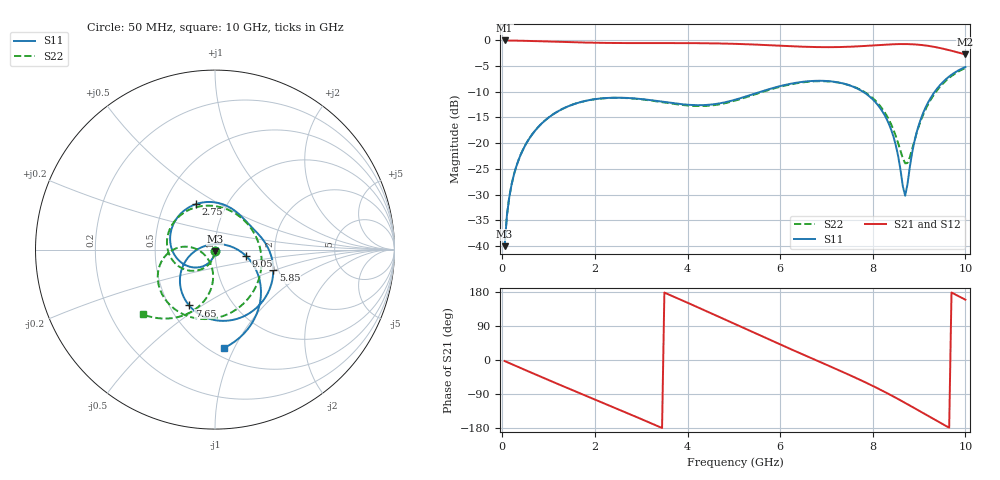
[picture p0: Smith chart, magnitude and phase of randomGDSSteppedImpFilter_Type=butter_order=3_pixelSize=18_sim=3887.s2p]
! freq	dB(S11)	phase(S11)	dB(S12)	phase(S12)
!  dB(S21)	phase(S21)	dB(S22)	phase(S22)
!S-par simulation data
#  GHz  S  DB  R 50
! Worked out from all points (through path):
!   200 points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, 50 MHz to 10 GHz, reference 50 ohm
!   highest |S21| = 0.00 dB at 50 MHz (marker M1); lowest = -2.7 dB at 10 GHz (marker M2)
!   group delay of S21, straight-line fit = 153 ps
!   lowest |S11| = -40.1 dB at 50 MHz (marker M3), VSWR 1.02, Z = 49.9 - j0.992 ohm
!   |S11| at or under -10 dB: start of sweep to 5.573 GHz; 7.791 GHz to 9.338 GHz (1.547 GHz wide, 18.1 % of centre)
!   |S22| runs from -40.1 to -5.4 dB; largest |S21 - S12| = 0
!   S11 on the Smith chart (normalised r, x): 50 MHz: 1.00, -0.02; 2.75 GHz: 0.72, +0.39; 5.85 GHz: 1.88, -0.49; 7.65 GHz: 0.63, -0.44; 9.05 GHz: 1.42, -0.11; 10 GHz: 0.58, -0.91
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0.05  -40.05 -92.6  -0.00 -2.7  -0.00 -2.7  -40.06 -92.1
0.1  -34.04 -95.8  -0.01 -5.4  -0.01 -5.4  -34.05 -94.8
0.2  -28.07 -101.9  -0.02 -10.7  -0.02 -10.7  -28.07 -99.8
0.5  -20.35 -119.8  -0.08 -26.7  -0.08 -26.7  -20.34 -114.5
1.15  -14.08 -157.5  -0.25 -60.7  -0.25 -60.7  -14.07 -145.4
1.75  -11.86 168.4  -0.40 -91.6  -0.40 -91.6  -11.87 -173.1
2.25  -11.21 140.4  -0.48 -117.1  -0.48 -117.1  -11.23 163.9
2.75  -11.22 112.9  -0.52 -142.8  -0.52 -142.8  -11.26 140.0
3.4  -11.86 79.1  -0.52 -176.8  -0.52 -176.8  -11.95 105.9
4.15  -12.59 46.5  -0.53 142.9  -0.53 142.9  -12.75 58.2
4.6  -12.38 30.5  -0.57 118.3  -0.57 118.3  -12.57 25.0
5.05  -11.48 14.5  -0.67 93.4  -0.67 93.4  -11.66 -8.5
5.85  -9.25 -19.6  -0.96 49.3  -0.96 49.3  -9.39 -61.6
6.7  -7.89 -62.3  -1.27 3.4  -1.27 3.4  -7.98 -109.2
7.65  -9.30 -114.9  -1.16 -48.1  -1.16 -48.1  -9.24 -157.1
8.35  -16.29 -164.3  -0.78 -90.1  -0.78 -90.1  -15.45 174.4
8.5  -20.51 178.1  -0.72 -99.8  -0.72 -99.8  -18.68 176.0
8.7  -30.23 90.6  -0.70 -113.3  -0.70 -113.3  -23.93 -148.5
8.9  -19.63 6.2  -0.77 -127.1  -0.77 -127.1  -19.48 -98.7
9.05  -15.00 -11.8  -0.88 -137.6  -0.88 -137.6  -15.31 -93.8
9.5  -8.24 -49.6  -1.57 -168.7  -1.57 -168.7  -8.54 -111.3
10  -5.18 -85.0  -2.72 159.3  -2.72 159.3  -5.35 -138.1
